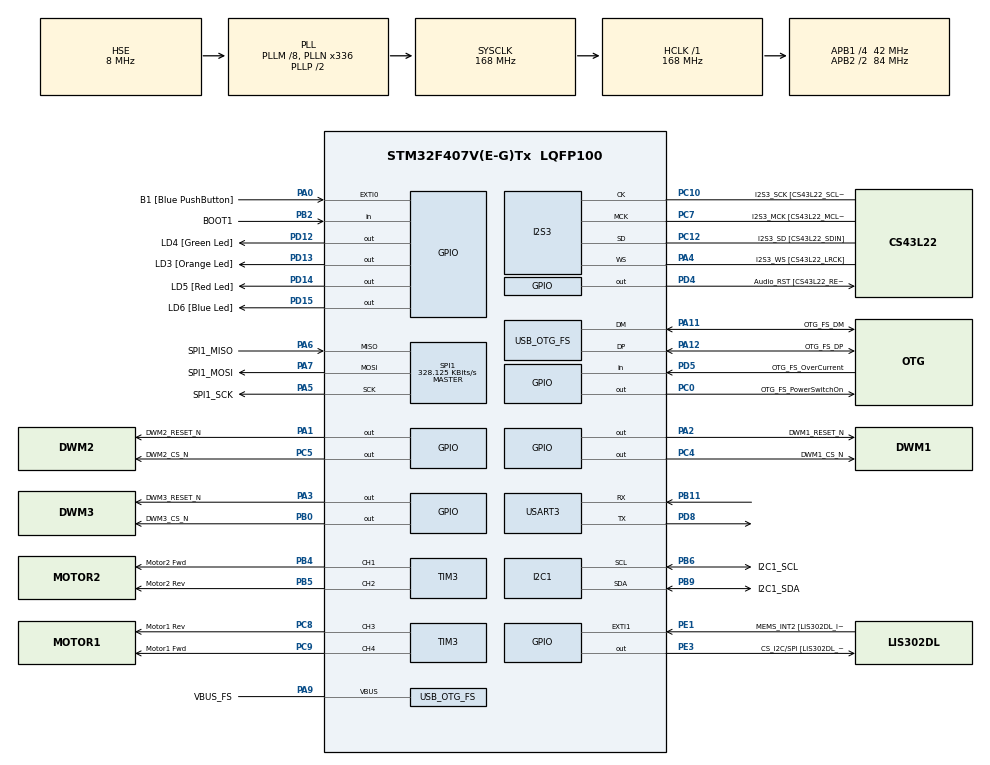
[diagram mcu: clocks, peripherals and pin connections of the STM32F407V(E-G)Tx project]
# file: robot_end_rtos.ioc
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FREERTOS.Tasks01=defaultTask,24,1024,StartDefaultTask,Default,NULL,Dynamic,NULL,NULL
FREERTOS.configUSE_NEWLIB_REENTRANT=1
I2S3.AudioFreq-Half_Duplex_Master=I2S_AUDIOFREQ_96K
I2S3.ErrorAudioFreq=-2.34 %
I2S3.ErrorAudioFreq-Half_Duplex_Master=0.8 %
I2S3.FullDuplexMode=I2S_FULLDUPLEXMODE_DISABLE
I2S3.Instance=SPI$Index
I2S3.RealAudioFreq=93.75 KHz
I2S3.RealAudioFreq-Half_Duplex_Master=96.774 KHz
I2S3.VirtualMode=I2S_MODE_MASTER
Mcu.Family=STM32F4
Mcu.Name=STM32F407V(E-G)Tx
Mcu.Package=LQFP100
NVIC.OTG_FS_IRQn=true\:5\:0\:false\:false\:true\:true\:true\:true\:true
NVIC.PriorityGroup=NVIC_PRIORITYGROUP_4
NVIC.TIM1_UP_TIM10_IRQn=true\:15\:0\:false\:false\:true\:false\:false\:true\:true
NVIC.TimeBase=TIM1_UP_TIM10_IRQn
NVIC.TimeBaseIP=TIM1
PA0-WKUP.GPIO_Label=B1 [Blue PushButton]
PA0-WKUP.GPIO_ModeDefaultEXTI=GPIO_MODE_EVT_RISING
PA0-WKUP.GPIO_PuPd=GPIO_NOPULL
PA0-WKUP.Signal=GPXTI0
PA1.GPIO_Label=DWM2_RESET_N
PA1.GPIO_ModeDefaultOutputPP=GPIO_MODE_OUTPUT_OD
PA1.GPIO_PuPd=GPIO_PULLUP
PA1.Signal=GPIO_Output
PA10.GPIO_Label=OTG_FS_ID
PA10.GPIO_Mode=GPIO_MODE_AF_PP
PA10.GPIO_PuPd=GPIO_NOPULL
PA10.GPIO_Speed=GPIO_SPEED_FREQ_LOW
PA10.Signal=USB_OTG_FS_ID
PA11.GPIO_Label=OTG_FS_DM
PA11.GPIO_Mode=GPIO_MODE_AF_PP
PA11.GPIO_PuPd=GPIO_NOPULL
PA11.GPIO_Speed=GPIO_SPEED_FREQ_LOW
PA11.Mode=Host_Only
PA11.Signal=USB_OTG_FS_DM
PA12.GPIO_Label=OTG_FS_DP
PA12.GPIO_Mode=GPIO_MODE_AF_PP
PA12.GPIO_PuPd=GPIO_NOPULL
PA12.GPIO_Speed=GPIO_SPEED_FREQ_LOW
PA12.Mode=Host_Only
PA12.Signal=USB_OTG_FS_DP
PA13.GPIO_Label=SWDIO
PA13.Mode=Serial_Wire
PA13.Signal=SYS_JTMS-SWDIO
PA14.GPIO_Label=SWCLK
PA14.Mode=Serial_Wire
PA14.Signal=SYS_JTCK-SWCLK
PA2.GPIO_Label=DWM1_RESET_N
PA2.GPIO_ModeDefaultOutputPP=GPIO_MODE_OUTPUT_OD
PA2.GPIO_PuPd=GPIO_PULLUP
PA2.Signal=GPIO_Output
PA3.GPIO_Label=DWM3_RESET_N
PA3.GPIO_ModeDefaultOutputPP=GPIO_MODE_OUTPUT_OD
PA3.GPIO_PuPd=GPIO_PULLUP
PA3.Signal=GPIO_Output
PA4.GPIO_Label=I2S3_WS [CS43L22_LRCK]
PA4.GPIO_Mode=GPIO_MODE_AF_PP
PA4.GPIO_PuPd=GPIO_NOPULL
PA4.GPIO_Speed=GPIO_SPEED_FREQ_LOW
PA4.Mode=Half_Duplex_Master
PA4.Signal=I2S3_WS
PA5.GPIO_Label=SPI1_SCK
PA5.GPIO_Mode=GPIO_MODE_AF_PP
PA5.GPIO_PuPd=GPIO_NOPULL
PA5.GPIO_Speed=GPIO_SPEED_FREQ_VERY_HIGH
PA5.Mode=Full_Duplex_Master
PA5.Signal=SPI1_SCK
PA6.GPIO_Label=SPI1_MISO
PA6.GPIO_Mode=GPIO_MODE_AF_PP
PA6.GPIO_PuPd=GPIO_NOPULL
PA6.GPIO_Speed=GPIO_SPEED_FREQ_VERY_HIGH
PA6.Mode=Full_Duplex_Master
PA6.Signal=SPI1_MISO
PA7.GPIO_Label=SPI1_MOSI
PA7.GPIO_Mode=GPIO_MODE_AF_PP
PA7.GPIO_PuPd=GPIO_NOPULL
PA7.GPIO_Speed=GPIO_SPEED_FREQ_VERY_HIGH
PA7.Mode=Full_Duplex_Master
PA7.Signal=SPI1_MOSI
PA9.GPIO_Label=VBUS_FS
PA9.GPIO_Mode=GPIO_MODE_INPUT
PA9.GPIO_PuPd=GPIO_NOPULL
PA9.Mode=Activate_VBUS
PA9.Signal=USB_OTG_FS_VBUS
PB0.GPIO_Label=DWM3_CS_N
PB0.GPIO_Speed=GPIO_SPEED_FREQ_HIGH
PB0.PinState=GPIO_PIN_SET
PB0.Signal=GPIO_Output
PB10.GPIO_Label=CLK_IN [MP45DT02_CLK]
PB10.GPIO_Mode=GPIO_MODE_AF_PP
PB10.GPIO_PuPd=GPIO_NOPULL
PB10.GPIO_Speed=GPIO_SPEED_FREQ_LOW
PB10.Signal=I2S2_CK
PB11.Mode=Asynchronous
PB11.Signal=USART3_RX
PB2.GPIO_Label=BOOT1
PB2.GPIO_Mode=GPIO_MODE_INPUT
PB2.GPIO_PuPd=GPIO_NOPULL
PB2.Signal=GPIO_Input
PB3.GPIO_Label=SWO
PB3.Signal=SYS_JTDO-SWO
PB4.GPIO_Label=Motor2 Fwd
PB4.Signal=S_TIM3_CH1
PB5.GPIO_Label=Motor2 Rev
PB5.Signal=S_TIM3_CH2
PB6.GPIO_Label=I2C1_SCL
PB6.GPIO_Mode=GPIO_MODE_AF_OD
PB6.GPIO_Pu=GPIO_PULLUP
PB6.GPIO_PuPd=GPIO_NOPULL
PB6.GPIO_Speed=GPIO_SPEED_FREQ_LOW
PB6.Mode=I2C
PB6.Signal=I2C1_SCL
PB9.GPIO_Label=I2C1_SDA
PB9.GPIO_Mode=GPIO_MODE_AF_OD
PB9.GPIO_Pu=GPIO_PULLUP
PB9.GPIO_PuPd=GPIO_NOPULL
PB9.GPIO_Speed=GPIO_SPEED_FREQ_LOW
PB9.Mode=I2C
PB9.Signal=I2C1_SDA
PC0.GPIO_Label=OTG_FS_PowerSwitchOn
PC0.GPIO_PuPd=GPIO_NOPULL
PC0.GPIO_Speed=GPIO_SPEED_FREQ_LOW
PC0.PinState=GPIO_PIN_SET
PC0.Signal=GPIO_Output
PC10.GPIO_Label=I2S3_SCK [CS43L22_SCLK]
PC10.GPIO_Mode=GPIO_MODE_AF_PP
PC10.GPIO_PuPd=GPIO_NOPULL
PC10.GPIO_Speed=GPIO_SPEED_FREQ_LOW
PC10.Mode=Half_Duplex_Master
PC10.Signal=I2S3_CK
PC12.GPIO_Label=I2S3_SD [CS43L22_SDIN]
PC12.GPIO_Mode=GPIO_MODE_AF_PP
PC12.GPIO_PuPd=GPIO_NOPULL
PC12.GPIO_Speed=GPIO_SPEED_FREQ_LOW
PC12.Mode=Half_Duplex_Master
PC12.Signal=I2S3_SD
PC14-OSC32_IN.GPIO_Label=PC14-OSC32_IN
PC14-OSC32_IN.Mode=LSE-External-Oscillator
PC14-OSC32_IN.Signal=RCC_OSC32_IN
PC15-OSC32_OUT.GPIO_Label=PC15-OSC32_OUT
PC15-OSC32_OUT.Mode=LSE-External-Oscillator
PC15-OSC32_OUT.Signal=RCC_OSC32_OUT
PC3.GPIO_Label=PDM_OUT [MP45DT02_DOUT]
PC3.GPIO_Mode=GPIO_MODE_AF_PP
PC3.GPIO_PuPd=GPIO_NOPULL
PC3.GPIO_Speed=GPIO_SPEED_FREQ_LOW
PC3.Signal=I2S2_SD
PC4.GPIO_Label=DWM1_CS_N
PC4.GPIO_Speed=GPIO_SPEED_FREQ_HIGH
PC4.PinState=GPIO_PIN_SET
PC4.Signal=GPIO_Output
PC5.GPIO_Label=DWM2_CS_N
PC5.GPIO_Speed=GPIO_SPEED_FREQ_HIGH
PC5.PinState=GPIO_PIN_SET
PC5.Signal=GPIO_Output
PC7.GPIO_Label=I2S3_MCK [CS43L22_MCLK]
PC7.GPIO_Mode=GPIO_MODE_AF_PP
PC7.GPIO_PuPd=GPIO_NOPULL
PC7.GPIO_Speed=GPIO_SPEED_FREQ_LOW
PC7.Mode=Master_Clock_Activated
PC7.Signal=I2S3_MCK
PC8.GPIO_Label=Motor1 Rev
PC8.Signal=S_TIM3_CH3
PC9.GPIO_Label=Motor1 Fwd
PC9.Signal=S_TIM3_CH4
PD12.GPIO_Label=LD4 [Green Led]
PD12.GPIO_PuPd=GPIO_NOPULL
PD12.GPIO_Speed=GPIO_SPEED_FREQ_LOW
PD12.Signal=GPIO_Output
PD13.GPIO_Label=LD3 [Orange Led]
PD13.GPIO_PuPd=GPIO_NOPULL
PD13.GPIO_Speed=GPIO_SPEED_FREQ_LOW
PD13.Signal=GPIO_Output
PD14.GPIO_Label=LD5 [Red Led]
PD14.GPIO_PuPd=GPIO_NOPULL
PD14.GPIO_Speed=GPIO_SPEED_FREQ_LOW
PD14.Signal=GPIO_Output
PD15.GPIO_Label=LD6 [Blue Led]
PD15.GPIO_PuPd=GPIO_NOPULL
PD15.GPIO_Speed=GPIO_SPEED_FREQ_LOW
PD15.Signal=GPIO_Output
PD4.GPIO_Label=Audio_RST [CS43L22_RESET]
PD4.GPIO_PuPd=GPIO_NOPULL
PD4.GPIO_Speed=GPIO_SPEED_FREQ_LOW
PD4.Signal=GPIO_Output
PD5.GPIO_Label=OTG_FS_OverCurrent
PD5.GPIO_Mode=GPIO_MODE_INPUT
PD5.GPIO_PuPd=GPIO_NOPULL
PD5.Signal=GPIO_Input
PD8.Mode=Asynchronous
PD8.Signal=USART3_TX
PE1.GPIO_Label=MEMS_INT2 [LIS302DL_INT2]
PE1.GPIO_ModeDefaultEXTI=GPIO_MODE_EVT_RISING
PE1.GPIO_PuPd=GPIO_NOPULL
PE1.Signal=GPXTI1
PE3.GPIO_Label=CS_I2C/SPI [LIS302DL_CS_I2C/SPI]
PE3.GPIO_PuPd=GPIO_NOPULL
PE3.GPIO_Speed=GPIO_SPEED_FREQ_LOW
PE3.PinState=GPIO_PIN_SET
PE3.Signal=GPIO_Output
PH0-OSC_IN.GPIO_Label=PH0-OSC_IN
PH0-OSC_IN.Mode=HSE-External-Oscillator
PH0-OSC_IN.Signal=RCC_OSC_IN
PH1-OSC_OUT.GPIO_Label=PH1-OSC_OUT
PH1-OSC_OUT.Mode=HSE-External-Oscillator
PH1-OSC_OUT.Signal=RCC_OSC_OUT
ProjectManager.HeapSize=0x200
ProjectManager.StackSize=0x400
ProjectManager.TargetToolchain=STM32CubeIDE
RCC.48MHZClocksFreq_Value=48000000
RCC.AHBFreq_Value=168000000
RCC.APB1CLKDivider=RCC_HCLK_DIV4
RCC.APB1Freq_Value=42000000
RCC.APB1TimFreq_Value=84000000
RCC.APB2CLKDivider=RCC_HCLK_DIV2
RCC.APB2Freq_Value=84000000
RCC.APB2TimFreq_Value=168000000
RCC.CortexFreq_Value=168000000
RCC.HCLKFreq_Value=168000000
RCC.HSE_VALUE=8000000
RCC.HSI_VALUE=16000000
RCC.PLLM=8
RCC.PLLN=336
RCC.PLLQ=7
RCC.SYSCLKFreq_VALUE=168000000
RCC.SYSCLKSource=RCC_SYSCLKSOURCE_PLLCLK
RCC.VCOOutputFreq_Value=336000000
SH.S_TIM3_CH1.0=TIM3_CH1,PWM Generation1 CH1
SH.S_TIM3_CH2.0=TIM3_CH2,PWM Generation2 CH2
SH.S_TIM3_CH3.0=TIM3_CH3,PWM Generation3 CH3
SH.S_TIM3_CH4.0=TIM3_CH4,PWM Generation4 CH4
SPI1.BaudRatePrescaler=SPI_BAUDRATEPRESCALER_256
SPI1.BaudRatePrescaler-Full_Duplex_Master=SPI_BAUDRATEPRESCALER_2
SPI1.CalculateBaudRate=328.125 KBits/s
SPI1.CalculateBaudRate-Full_Duplex_Master=42.0 MBits/s
SPI1.Direction=SPI_DIRECTION_2LINES
SPI1.Mode=SPI_MODE_MASTER
SPI1.Mode-Full_Duplex_Master=SPI_MODE_MASTER
SPI1.VirtualType=VM_MASTER
TIM3.Channel-PWM\ Generation1\ CH1=TIM_CHANNEL_1
TIM3.Channel-PWM\ Generation2\ CH2=TIM_CHANNEL_2
TIM3.Channel-PWM\ Generation3\ CH3=TIM_CHANNEL_3
TIM3.Channel-PWM\ Generation4\ CH4=TIM_CHANNEL_4
USART3.VirtualMode=VM_ASYNC
USB_HOST.BSP.number=1
USB_HOST.USBH_HandleTypeDef-CDC_FS=hUsbHostFS
USB_HOST.VirtualModeFS=Cdc
USB_HOST0.BSP.STBoard=false
USB_HOST0.BSP.api=Unknown
USB_HOST0.BSP.instance=PC0
USB_HOST0.BSP.ip=GPIO
USB_HOST0.BSP.mode=Output
USB_HOST0.BSP.name=Drive_VBUS_FS
USB_HOST0.BSP.solution=PC0
USB_OTG_FS.VirtualMode=Host_Only
USB_OTG_FS.phy_itface=HCD_PHY_EMBEDDED
VP_FREERTOS_VS_CMSIS_V2.Mode=CMSIS_V2
VP_SYS_VS_tim1.Mode=TIM1
VP_USB_HOST_VS_USB_HOST_CDC_FS.Mode=CDC_FS
board=STM32F407G-DISC1

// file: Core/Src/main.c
/* USER CODE BEGIN Header */
/**
  ******************************************************************************
  * @file           : main.c
  * @brief          : Main program body
  ******************************************************************************
  * @attention
  *
  * Copyright (c) 2026 STMicroelectronics.
  * All rights reserved.
  *
  * This software is licensed under terms that can be found in the LICENSE file
  * in the root directory of this software component.
  * If no LICENSE file comes with this software, it is provided AS-IS.
  *
  ******************************************************************************
  */
/* USER CODE END Header */
#include "main.h"
#include "cmsis_os.h"
#include "usb_host.h"

/* USER CODE BEGIN Includes */
#include "dwm1000.h"
#include "VL53L1X_api.h"
#include "VL53l1X_calibration.h"
#include <math.h>
#include "dwm_triangulation.h"

/* USER CODE END Includes */

/* USER CODE BEGIN PD */
//#define UWB_BASELINE_CM 30.0f
//#define RAD_TO_DEG 57.2957795f
/* USER CODE END PD */

I2C_HandleTypeDef hi2c1;

I2S_HandleTypeDef hi2s3;

SPI_HandleTypeDef hspi1;

TIM_HandleTypeDef htim3;

UART_HandleTypeDef huart3;

/* Definitions for defaultTask */
osThreadId_t defaultTaskHandle;
const osThreadAttr_t defaultTask_attributes = {
  .name = "defaultTask",
  .stack_size = 1024 * 4,
  .priority = (osPriority_t) osPriorityNormal,
};
/* USER CODE BEGIN PV */
osThreadId_t tofTaskHandle;
const osThreadAttr_t tofTask_attributes = {
  .name = "tofTask",
  .stack_size = 1024  * 1,
  .priority = (osPriority_t) 5,
};

/* USER CODE END PV */

void SystemClock_Config(void);
static void MX_GPIO_Init(void);
static void MX_I2C1_Init(void);
static void MX_I2S3_Init(void);
static void MX_SPI1_Init(void);
static void MX_USART3_UART_Init(void);
static void MX_TIM3_Init(void);
void StartDefaultTask(void *argument);

/* USER CODE BEGIN PFP */
void TimeOfFlighMeausure(void *argument);

/* USER CODE END PFP */

/* USER CODE BEGIN 0 */

RemotePosition remote_pos = {
		.valid = 0
};

bool standby;

// DELETE LATER

int uwb_count = 0;
int tof_count = 0 ;

/* USER CODE END 0 */

int main(void)
{

  /* MCU Configuration--------------------------------------------------------*/

  /* Reset of all peripherals, Initializes the Flash interface and the Systick. */
   HAL_Init();

  /* Configure the system clock */
  SystemClock_Config();

  /* Initialize all configured peripherals */
  MX_GPIO_Init();
  MX_I2C1_Init();
  MX_I2S3_Init();
  MX_SPI1_Init();
  MX_USART3_UART_Init();
  MX_TIM3_Init();
  /* USER CODE BEGIN 2 */

  //TOF BEGIN
  // Wait for sensor boot
// while (sensorState == 0)
//  {
//      status = VL53L1X_BootState(dev, &sensorState);
//      HAL_Delay(2);
//  }
//
//  // Initialize sensor
//  status = VL53L1X_SensorInit(dev);
//
//  // Configure ranging
//  status = VL53L1X_SetDistanceMode(dev, 1);      // 1=short, 2=long
//  status = VL53L1X_SetTimingBudgetInMs(dev, 100);
//  status = VL53L1X_SetInterMeasurementInMs(dev, 100);
//
//  status = VL53L1X_StartRanging(dev);

  //TOF END

  /* USER CODE END 2 */

  /* Init scheduler */
  osKernelInitialize();

  /* Create the thread(s) */
  /* creation of defaultTask */
  defaultTaskHandle = osThreadNew(StartDefaultTask, NULL, &defaultTask_attributes);

  /* USER CODE BEGIN RTOS_THREADS */
  /* add threads, ... */
  tofTaskHandle = osThreadNew(TimeOfFlighMeausure, NULL, &tofTask_attributes);
  /* USER CODE END RTOS_THREADS */

  /* Start scheduler */
  osKernelStart();

  /* We should never get here as control is now taken by the scheduler */

  /* Infinite loop */
  while (1)
  {

  }
}

void SystemClock_Config(void)
{
  RCC_OscInitTypeDef RCC_OscInitStruct = {0};
  RCC_ClkInitTypeDef RCC_ClkInitStruct = {0};

  /** Configure the main internal regulator output voltage
  */
  __HAL_RCC_PWR_CLK_ENABLE();
  __HAL_PWR_VOLTAGESCALING_CONFIG(PWR_REGULATOR_VOLTAGE_SCALE1);

  /** Initializes the RCC Oscillators according to the specified parameters
  * in the RCC_OscInitTypeDef structure.
  */
  RCC_OscInitStruct.OscillatorType = RCC_OSCILLATORTYPE_HSE;
  RCC_OscInitStruct.HSEState = RCC_HSE_ON;
  RCC_OscInitStruct.PLL.PLLState = RCC_PLL_ON;
  RCC_OscInitStruct.PLL.PLLSource = RCC_PLLSOURCE_HSE;
  RCC_OscInitStruct.PLL.PLLM = 8;
  RCC_OscInitStruct.PLL.PLLN = 336;
  RCC_OscInitStruct.PLL.PLLP = RCC_PLLP_DIV2;
  RCC_OscInitStruct.PLL.PLLQ = 7;
  if (HAL_RCC_OscConfig(&RCC_OscInitStruct) != HAL_OK)
  {
    Error_Handler();
  }

  /** Initializes the CPU, AHB and APB buses clocks
  */
  RCC_ClkInitStruct.ClockType = RCC_CLOCKTYPE_HCLK|RCC_CLOCKTYPE_SYSCLK
                              |RCC_CLOCKTYPE_PCLK1|RCC_CLOCKTYPE_PCLK2;
  RCC_ClkInitStruct.SYSCLKSource = RCC_SYSCLKSOURCE_PLLCLK;
  RCC_ClkInitStruct.AHBCLKDivider = RCC_SYSCLK_DIV1;
  RCC_ClkInitStruct.APB1CLKDivider = RCC_HCLK_DIV4;
  RCC_ClkInitStruct.APB2CLKDivider = RCC_HCLK_DIV2;

  if (HAL_RCC_ClockConfig(&RCC_ClkInitStruct, FLASH_LATENCY_5) != HAL_OK)
  {
    Error_Handler();
  }
}

static void MX_I2C1_Init(void)
{

  hi2c1.Instance = I2C1;
  hi2c1.Init.ClockSpeed = 100000;
  hi2c1.Init.DutyCycle = I2C_DUTYCYCLE_2;
  hi2c1.Init.OwnAddress1 = 0;
  hi2c1.Init.AddressingMode = I2C_ADDRESSINGMODE_7BIT;
  hi2c1.Init.DualAddressMode = I2C_DUALADDRESS_DISABLE;
  hi2c1.Init.OwnAddress2 = 0;
  hi2c1.Init.GeneralCallMode = I2C_GENERALCALL_DISABLE;
  hi2c1.Init.NoStretchMode = I2C_NOSTRETCH_DISABLE;
  if (HAL_I2C_Init(&hi2c1) != HAL_OK)
  {
    Error_Handler();
  }

}

static void MX_I2S3_Init(void)
{

  hi2s3.Instance = SPI3;
  hi2s3.Init.Mode = I2S_MODE_MASTER_TX;
  hi2s3.Init.Standard = I2S_STANDARD_PHILIPS;
  hi2s3.Init.DataFormat = I2S_DATAFORMAT_16B;
  hi2s3.Init.MCLKOutput = I2S_MCLKOUTPUT_ENABLE;
  hi2s3.Init.AudioFreq = I2S_AUDIOFREQ_96K;
  hi2s3.Init.CPOL = I2S_CPOL_LOW;
  hi2s3.Init.ClockSource = I2S_CLOCK_PLL;
  hi2s3.Init.FullDuplexMode = I2S_FULLDUPLEXMODE_DISABLE;
  if (HAL_I2S_Init(&hi2s3) != HAL_OK)
  {
    Error_Handler();
  }

}

static void MX_SPI1_Init(void)
{

  /* SPI1 parameter configuration*/
  hspi1.Instance = SPI1;
  hspi1.Init.Mode = SPI_MODE_MASTER;
  hspi1.Init.Direction = SPI_DIRECTION_2LINES;
  hspi1.Init.DataSize = SPI_DATASIZE_8BIT;
  hspi1.Init.CLKPolarity = SPI_POLARITY_LOW;
  hspi1.Init.CLKPhase = SPI_PHASE_1EDGE;
  hspi1.Init.NSS = SPI_NSS_SOFT;
  hspi1.Init.BaudRatePrescaler = SPI_BAUDRATEPRESCALER_256;
  hspi1.Init.FirstBit = SPI_FIRSTBIT_MSB;
  hspi1.Init.TIMode = SPI_TIMODE_DISABLE;
  hspi1.Init.CRCCalculation = SPI_CRCCALCULATION_DISABLE;
  hspi1.Init.CRCPolynomial = 10;
  if (HAL_SPI_Init(&hspi1) != HAL_OK)
  {
    Error_Handler();
  }

}

static void MX_TIM3_Init(void)
{

  TIM_MasterConfigTypeDef sMasterConfig = {0};
  TIM_OC_InitTypeDef sConfigOC = {0};

  htim3.Instance = TIM3;
  htim3.Init.Prescaler = 0;
  htim3.Init.CounterMode = TIM_COUNTERMODE_UP;
  htim3.Init.Period = 65535;
  htim3.Init.ClockDivision = TIM_CLOCKDIVISION_DIV1;
  htim3.Init.AutoReloadPreload = TIM_AUTORELOAD_PRELOAD_DISABLE;
  if (HAL_TIM_PWM_Init(&htim3) != HAL_OK)
  {
    Error_Handler();
  }
  sMasterConfig.MasterOutputTrigger = TIM_TRGO_RESET;
  sMasterConfig.MasterSlaveMode = TIM_MASTERSLAVEMODE_DISABLE;
  if (HAL_TIMEx_MasterConfigSynchronization(&htim3, &sMasterConfig) != HAL_OK)
  {
    Error_Handler();
  }
  sConfigOC.OCMode = TIM_OCMODE_PWM1;
  sConfigOC.Pulse = 0;
  sConfigOC.OCPolarity = TIM_OCPOLARITY_HIGH;
  sConfigOC.OCFastMode = TIM_OCFAST_DISABLE;
  if (HAL_TIM_PWM_ConfigChannel(&htim3, &sConfigOC, TIM_CHANNEL_1) != HAL_OK)
  {
    Error_Handler();
  }
  if (HAL_TIM_PWM_ConfigChannel(&htim3, &sConfigOC, TIM_CHANNEL_2) != HAL_OK)
  {
    Error_Handler();
  }
  if (HAL_TIM_PWM_ConfigChannel(&htim3, &sConfigOC, TIM_CHANNEL_3) != HAL_OK)
  {
    Error_Handler();
  }
  if (HAL_TIM_PWM_ConfigChannel(&htim3, &sConfigOC, TIM_CHANNEL_4) != HAL_OK)
  {
    Error_Handler();
  }
  HAL_TIM_MspPostInit(&htim3);

}

static void MX_USART3_UART_Init(void)
{

  huart3.Instance = USART3;
  huart3.Init.BaudRate = 115200;
  huart3.Init.WordLength = UART_WORDLENGTH_8B;
  huart3.Init.StopBits = UART_STOPBITS_1;
  huart3.Init.Parity = UART_PARITY_NONE;
  huart3.Init.Mode = UART_MODE_TX_RX;
  huart3.Init.HwFlowCtl = UART_HWCONTROL_NONE;
  huart3.Init.OverSampling = UART_OVERSAMPLING_16;
  if (HAL_UART_Init(&huart3) != HAL_OK)
  {
    Error_Handler();
  }

}

static void MX_GPIO_Init(void)
{
  GPIO_InitTypeDef GPIO_InitStruct = {0};

  /* GPIO Ports Clock Enable */
  __HAL_RCC_GPIOE_CLK_ENABLE();
  __HAL_RCC_GPIOC_CLK_ENABLE();
  __HAL_RCC_GPIOH_CLK_ENABLE();
  __HAL_RCC_GPIOA_CLK_ENABLE();
  __HAL_RCC_GPIOB_CLK_ENABLE();
  __HAL_RCC_GPIOD_CLK_ENABLE();

  /*Configure GPIO pin Output Level */
  HAL_GPIO_WritePin(CS_I2C_SPI_GPIO_Port, CS_I2C_SPI_Pin, GPIO_PIN_SET);

  /*Configure GPIO pin Output Level */
  HAL_GPIO_WritePin(GPIOC, OTG_FS_PowerSwitchOn_Pin|DWM1_CS_N_Pin|DWM2_CS_N_Pin, GPIO_PIN_SET);

  /*Configure GPIO pin Output Level */
  HAL_GPIO_WritePin(GPIOA, DWM2_RESET_N_Pin|DWM1_RESET_N_Pin|DWM3_RESET_N_Pin, GPIO_PIN_RESET);

  /*Configure GPIO pin Output Level */
  HAL_GPIO_WritePin(DWM3_CS_N_GPIO_Port, DWM3_CS_N_Pin, GPIO_PIN_SET);

  /*Configure GPIO pin Output Level */
  HAL_GPIO_WritePin(GPIOD, LD4_Pin|LD3_Pin|LD5_Pin|LD6_Pin
                          |Audio_RST_Pin, GPIO_PIN_RESET);

  /*Configure GPIO pin : CS_I2C_SPI_Pin */
  GPIO_InitStruct.Pin = CS_I2C_SPI_Pin;
  GPIO_InitStruct.Mode = GPIO_MODE_OUTPUT_PP;
  GPIO_InitStruct.Pull = GPIO_NOPULL;
  GPIO_InitStruct.Speed = GPIO_SPEED_FREQ_LOW;
  HAL_GPIO_Init(CS_I2C_SPI_GPIO_Port, &GPIO_InitStruct);

  /*Configure GPIO pin : OTG_FS_PowerSwitchOn_Pin */
  GPIO_InitStruct.Pin = OTG_FS_PowerSwitchOn_Pin;
  GPIO_InitStruct.Mode = GPIO_MODE_OUTPUT_PP;
  GPIO_InitStruct.Pull = GPIO_NOPULL;
  GPIO_InitStruct.Speed = GPIO_SPEED_FREQ_LOW;
  HAL_GPIO_Init(OTG_FS_PowerSwitchOn_GPIO_Port, &GPIO_InitStruct);

  /*Configure GPIO pin : PDM_OUT_Pin */
  GPIO_InitStruct.Pin = PDM_OUT_Pin;
  GPIO_InitStruct.Mode = GPIO_MODE_AF_PP;
  GPIO_InitStruct.Pull = GPIO_NOPULL;
  GPIO_InitStruct.Speed = GPIO_SPEED_FREQ_LOW;
  GPIO_InitStruct.Alternate = GPIO_AF5_SPI2;
  HAL_GPIO_Init(PDM_OUT_GPIO_Port, &GPIO_InitStruct);

  /*Configure GPIO pin : B1_Pin */
  GPIO_InitStruct.Pin = B1_Pin;
  GPIO_InitStruct.Mode = GPIO_MODE_EVT_RISING;
  GPIO_InitStruct.Pull = GPIO_NOPULL;
  HAL_GPIO_Init(B1_GPIO_Port, &GPIO_InitStruct);

  /*Configure GPIO pins : DWM2_RESET_N_Pin DWM1_RESET_N_Pin DWM3_RESET_N_Pin */
  GPIO_InitStruct.Pin = DWM2_RESET_N_Pin|DWM1_RESET_N_Pin|DWM3_RESET_N_Pin;
  GPIO_InitStruct.Mode = GPIO_MODE_OUTPUT_OD;
  GPIO_InitStruct.Pull = GPIO_PULLUP;
  GPIO_InitStruct.Speed = GPIO_SPEED_FREQ_LOW;
  HAL_GPIO_Init(GPIOA, &GPIO_InitStruct);

  /*Configure GPIO pins : DWM1_CS_N_Pin DWM2_CS_N_Pin */
  GPIO_InitStruct.Pin = DWM1_CS_N_Pin|DWM2_CS_N_Pin;
  GPIO_InitStruct.Mode = GPIO_MODE_OUTPUT_PP;
  GPIO_InitStruct.Pull = GPIO_NOPULL;
  GPIO_InitStruct.Speed = GPIO_SPEED_FREQ_HIGH;
  HAL_GPIO_Init(GPIOC, &GPIO_InitStruct);

  /*Configure GPIO pin : DWM3_CS_N_Pin */
  GPIO_InitStruct.Pin = DWM3_CS_N_Pin;
  GPIO_InitStruct.Mode = GPIO_MODE_OUTPUT_PP;
  GPIO_InitStruct.Pull = GPIO_NOPULL;
  GPIO_InitStruct.Speed = GPIO_SPEED_FREQ_HIGH;
  HAL_GPIO_Init(DWM3_CS_N_GPIO_Port, &GPIO_InitStruct);

  /*Configure GPIO pin : BOOT1_Pin */
  GPIO_InitStruct.Pin = BOOT1_Pin;
  GPIO_InitStruct.Mode = GPIO_MODE_INPUT;
  GPIO_InitStruct.Pull = GPIO_NOPULL;
  HAL_GPIO_Init(BOOT1_GPIO_Port, &GPIO_InitStruct);

  /*Configure GPIO pin : CLK_IN_Pin */
  GPIO_InitStruct.Pin = CLK_IN_Pin;
  GPIO_InitStruct.Mode = GPIO_MODE_AF_PP;
  GPIO_InitStruct.Pull = GPIO_NOPULL;
  GPIO_InitStruct.Speed = GPIO_SPEED_FREQ_LOW;
  GPIO_InitStruct.Alternate = GPIO_AF5_SPI2;
  HAL_GPIO_Init(CLK_IN_GPIO_Port, &GPIO_InitStruct);

  /*Configure GPIO pins : LD4_Pin LD3_Pin LD5_Pin LD6_Pin
                           Audio_RST_Pin */
  GPIO_InitStruct.Pin = LD4_Pin|LD3_Pin|LD5_Pin|LD6_Pin
                          |Audio_RST_Pin;
  GPIO_InitStruct.Mode = GPIO_MODE_OUTPUT_PP;
  GPIO_InitStruct.Pull = GPIO_NOPULL;
  GPIO_InitStruct.Speed = GPIO_SPEED_FREQ_LOW;
  HAL_GPIO_Init(GPIOD, &GPIO_InitStruct);

  /*Configure GPIO pin : OTG_FS_OverCurrent_Pin */
  GPIO_InitStruct.Pin = OTG_FS_OverCurrent_Pin;
  GPIO_InitStruct.Mode = GPIO_MODE_INPUT;
  GPIO_InitStruct.Pull = GPIO_NOPULL;
  HAL_GPIO_Init(OTG_FS_OverCurrent_GPIO_Port, &GPIO_InitStruct);

  /*Configure GPIO pin : MEMS_INT2_Pin */
  GPIO_InitStruct.Pin = MEMS_INT2_Pin;
  GPIO_InitStruct.Mode = GPIO_MODE_EVT_RISING;
  GPIO_InitStruct.Pull = GPIO_NOPULL;
  HAL_GPIO_Init(MEMS_INT2_GPIO_Port, &GPIO_InitStruct);

}

/* USER CODE BEGIN 4 */

extern UART_HandleTypeDef huart2;

int _write(int file, char *ptr, int len)
{
    HAL_UART_Transmit(&huart3, (uint8_t*)ptr, len, HAL_MAX_DELAY);
    return len;
}

void TimeOfFlighMeausure(void *argument) {

//	 while (sensorState == 0){
//		 status = VL53L1X_BootState(dev, &sensorState);
//		 osDelay(2);
//	  }
//
//	  // Initialize sensor
//	 status = VL53L1X_SensorInit(dev);
//	  // Configure ranging
//	 status = VL53L1X_SetDistanceMode(dev, 1);      // 1=short, 2=long
//	 status = VL53L1X_SetTimingBudgetInMs(dev, 100);
//	 status = VL53L1X_SetInterMeasurementInMs(dev, 100);
//	 status = VL53L1X_StartRanging(dev);

	for(;;){
		// tof
//		while (dataReady == 0) {
//			VL53L1X_CheckForDataReady(dev, &dataReady);
//			osDelay(1);
//		}
//
//		dataReady = 0;
//
//		// Read distance
//		VL53L1X_GetDistance(dev, &distance);
//		VL53L1X_GetRangeStatus(dev, &rangeStatus);
//
//		// Clear interrupt
//		VL53L1X_ClearInterrupt(dev);

		tof_count++;

	    osDelay(5);

	}
}

/* USER CODE END 4 */

void StartDefaultTask(void *argument)
{
  /* init code for USB_HOST */
  MX_USB_HOST_Init();
  /* USER CODE BEGIN 5 */

  DWM_Triangulation_Init(&hspi1);

  /* Infinite loop */
  for(;;)
  {

      DWM_Triangulation_TaskStep();

      DWM_Triangulation_GetPosition(&remote_pos);

      standby = get_standby_state();

      uwb_count++;

    osDelay(10);
  }
  /* USER CODE END 5 */
}

void HAL_TIM_PeriodElapsedCallback(TIM_HandleTypeDef *htim)
{
  if (htim->Instance == TIM1)
  {
    HAL_IncTick();
  }
}

void Error_Handler(void)
{
  __disable_irq();
  while (1)
  {
  }
}
